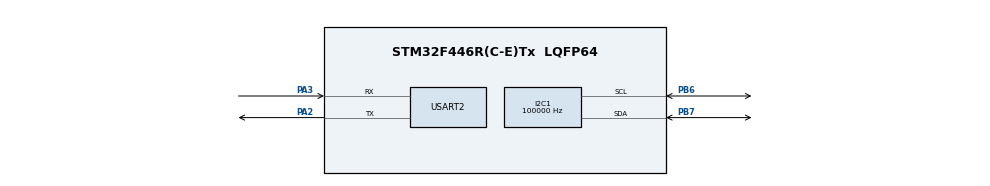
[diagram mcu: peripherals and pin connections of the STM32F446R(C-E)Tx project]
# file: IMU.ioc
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I2C1.ClockSpeed=100000
Mcu.Family=STM32F4
Mcu.Name=STM32F446R(C-E)Tx
Mcu.Package=LQFP64
NVIC.PriorityGroup=NVIC_PRIORITYGROUP_4
PA2.Mode=Asynchronous
PA2.Signal=USART2_TX
PA3.Mode=Asynchronous
PA3.Signal=USART2_RX
PB6.Mode=I2C
PB6.Signal=I2C1_SCL
PB7.Mode=I2C
PB7.Signal=I2C1_SDA
ProjectManager.HeapSize=0x200
ProjectManager.StackSize=0x400
ProjectManager.TargetToolchain=STM32CubeIDE
RCC.CortexFreq_Value=16000000
RCC.USBFreq_Value=96000000
RCC.VCOOutputFreq_Value=192000000
USART2.VirtualMode=VM_ASYNC
board=custom

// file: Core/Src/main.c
/* USER CODE BEGIN Header */
/**
  ******************************************************************************
  * @file           : main.c
  * @brief          : Main program body
  ******************************************************************************
  * @attention
  *
  * Copyright (c) 2024 STMicroelectronics.
  * All rights reserved.
  *
  * This software is licensed under terms that can be found in the LICENSE file
  * in the root directory of this software component.
  * If no LICENSE file comes with this software, it is provided AS-IS.
  *
  ******************************************************************************
  */
/* USER CODE END Header */
#include "main.h"

/* USER CODE BEGIN Includes */
#include <stdio.h>

/* USER CODE END Includes */

/* USER CODE BEGIN PD */
// Endereço I2C do ICM20948
#define ICM20948_ADDR 0x68 << 1  // Endereço I2C com bit de leitura/escrita
#define WHO_AM_I 0x00            // Registo WHO_AM_I
#define PWR_MGMT_1 0x06          // Registo de gerenciamento de energia
#define ACCEL_XOUT_H 0x2D        // Registo de saída do acelerômetro (X alto)
#define GYRO_XOUT_H 0x33         // Registo de saída do giroscópio (X alto)

// Sensibilidade inicial dos sensores (ajustar conforme a configuração do dispositivo)
float ACCEL_SENSITIVITY = 16384.0; // ×2g: 16384 LSB/g
float GYRO_SENSITIVITY = 131.0;    // ×250dps: 131 LSB/°/s
/* USER CODE END PD */

I2C_HandleTypeDef hi2c1;

UART_HandleTypeDef huart2;

/* USER CODE BEGIN PV */
uint8_t tx_buffer[128];

/* USER CODE END PV */

void SystemClock_Config(void);
static void MX_GPIO_Init(void);
static void MX_USART2_UART_Init(void);
static void MX_I2C1_Init(void);

/* USER CODE BEGIN 0 */

uint8_t icm20948_init(void) {
    uint8_t data;

    // Verifica o WHO_AM_I
    HAL_I2C_Mem_Read(&hi2c1, ICM20948_ADDR, WHO_AM_I, I2C_MEMADD_SIZE_8BIT, &data, 1, HAL_MAX_DELAY);
    if (data != 0xEA) {  // Valor esperado do WHO_AM_I
        return HAL_ERROR;
    }

    // Configura o registrador PWR_MGMT_1 (sai do modo de suspensão)
    data = 0x01;  // Seleciona o relógio PLL
    HAL_I2C_Mem_Write(&hi2c1, ICM20948_ADDR, PWR_MGMT_1, I2C_MEMADD_SIZE_8BIT, &data, 1, HAL_MAX_DELAY);

    return HAL_OK;
}

// Configurar intervalo do acelerômetro e atualizar sensibilidade
void icm20948_set_accel_range(uint8_t range) {
    uint8_t data = range << 1; // Configurar FS_SEL no registrador ACCEL_CONFIG
    HAL_I2C_Mem_Write(&hi2c1, ICM20948_ADDR, 0x14, I2C_MEMADD_SIZE_8BIT, &data, 1, HAL_MAX_DELAY);

    switch (range) {
        case 0:
            ACCEL_SENSITIVITY = 16384.0; // ±2g
            break;
        case 1:
            ACCEL_SENSITIVITY = 8192.0; // ±4g
            break;
        case 2:
            ACCEL_SENSITIVITY = 4096.0; // ±8g
            break;
        case 3:
            ACCEL_SENSITIVITY = 2048.0; // ±16g
            break;
        default:
            ACCEL_SENSITIVITY = 16384.0; // Default to ±2g
    }
}

// Configurar intervalo do giroscópio e atualizar sensibilidade
void icm20948_set_gyro_range(uint8_t range) {
    uint8_t data = range << 1; // Configurar FS_SEL no registrador GYRO_CONFIG
    HAL_I2C_Mem_Write(&hi2c1, ICM20948_ADDR, 0x01, I2C_MEMADD_SIZE_8BIT, &data, 1, HAL_MAX_DELAY);

    switch (range) {
        case 0:
            GYRO_SENSITIVITY = 131.0; // ±250°/s
            break;
        case 1:
            GYRO_SENSITIVITY = 65.5; // ±500°/s
            break;
        case 2:
            GYRO_SENSITIVITY = 32.8; // ±1000°/s
            break;
        case 3:
            GYRO_SENSITIVITY = 16.4; // ±2000°/s
            break;
        default:
            GYRO_SENSITIVITY = 131.0; // Default to ±250°/s
    }
}

// Leitura dos dados do acelerômetro
void icm20948_read_accel(int16_t *accel_data) {
    uint8_t data[6];

    HAL_I2C_Mem_Read(&hi2c1, ICM20948_ADDR, ACCEL_XOUT_H, I2C_MEMADD_SIZE_8BIT, data, 6, HAL_MAX_DELAY);

    // Combina os valores altos e baixos para os eixos X, Y e Z
    accel_data[0] = (int16_t)(data[0] << 8 | data[1]);
    accel_data[1] = (int16_t)(data[2] << 8 | data[3]);
    accel_data[2] = (int16_t)(data[4] << 8 | data[5]);
}

void icm20948_read_gyro(int16_t *gyro_data) {
    uint8_t data[6];

    HAL_I2C_Mem_Read(&hi2c1, ICM20948_ADDR, GYRO_XOUT_H, I2C_MEMADD_SIZE_8BIT, data, 6, HAL_MAX_DELAY);

    // Combina os valores altos e baixos para os eixos X, Y e Z
    gyro_data[0] = (int16_t)(data[0] << 8 | data[1]);
    gyro_data[1] = (int16_t)(data[2] << 8 | data[3]);
    gyro_data[2] = (int16_t)(data[4] << 8 | data[5]);
}

/* USER CODE END 0 */

int main(void)
{

  /* MCU Configuration--------------------------------------------------------*/

  /* Reset of all peripherals, Initializes the Flash interface and the Systick. */
  HAL_Init();

  /* Configure the system clock */
  SystemClock_Config();

  /* Initialize all configured peripherals */
  MX_GPIO_Init();
  MX_USART2_UART_Init();
  MX_I2C1_Init();
  /* USER CODE BEGIN 2 */

  HAL_UART_Transmit(&huart2, (uint8_t *)"Initializing ICM20948...\r\n", 26, HAL_MAX_DELAY);

  if (icm20948_init() == HAL_OK) {
	  HAL_UART_Transmit(&huart2, (uint8_t *)"ICM20948 initialized!\r\n", 23, HAL_MAX_DELAY);
  } else {
	  HAL_UART_Transmit(&huart2, (uint8_t *)"ICM20948 initialization failed!\r\n", 33, HAL_MAX_DELAY);
	  Error_Handler();
  }

  icm20948_set_accel_range(0); // ±2g
  icm20948_set_gyro_range(0);  // ±250°/s

  int16_t accel_data[3];
  int16_t gyro_data[3];

  /* USER CODE END 2 */

  /* Infinite loop */
  while (1)
  {

    /* USER CODE BEGIN 3 */

      icm20948_read_accel(accel_data);
      icm20948_read_gyro(gyro_data);

      // Converte os dados para unidades físicas
      float accel_x_g = accel_data[0] / ACCEL_SENSITIVITY;
      float accel_y_g = accel_data[1] / ACCEL_SENSITIVITY;
      float accel_z_g = accel_data[2] / ACCEL_SENSITIVITY;

      float gyro_x_dps = gyro_data[0] / GYRO_SENSITIVITY;
      float gyro_y_dps = gyro_data[1] / GYRO_SENSITIVITY;
      float gyro_z_dps = gyro_data[2] / GYRO_SENSITIVITY;

      // Escreve os dados convertidos para o terminal
      snprintf((char *)tx_buffer, sizeof(tx_buffer),
               "Accel (g): X=%.2f, Y=%.2f, Z=%.2f | Gyro (dps): X=%.2f, Y=%.2f, Z=%.2f\r\n",
               accel_x_g, accel_y_g, accel_z_g,
               gyro_x_dps, gyro_y_dps, gyro_z_dps);

      HAL_UART_Transmit(&huart2, tx_buffer, strlen((char *)tx_buffer), HAL_MAX_DELAY);

      HAL_Delay(100);  // Aguarda 1 segundo

  }
  /* USER CODE END 3 */
}

void SystemClock_Config(void)
{
  RCC_OscInitTypeDef RCC_OscInitStruct = {0};
  RCC_ClkInitTypeDef RCC_ClkInitStruct = {0};

  /** Configure the main internal regulator output voltage
  */
  __HAL_RCC_PWR_CLK_ENABLE();
  __HAL_PWR_VOLTAGESCALING_CONFIG(PWR_REGULATOR_VOLTAGE_SCALE3);

  /** Initializes the RCC Oscillators according to the specified parameters
  * in the RCC_OscInitTypeDef structure.
  */
  RCC_OscInitStruct.OscillatorType = RCC_OSCILLATORTYPE_HSI;
  RCC_OscInitStruct.HSIState = RCC_HSI_ON;
  RCC_OscInitStruct.HSICalibrationValue = RCC_HSICALIBRATION_DEFAULT;
  RCC_OscInitStruct.PLL.PLLState = RCC_PLL_NONE;
  if (HAL_RCC_OscConfig(&RCC_OscInitStruct) != HAL_OK)
  {
    Error_Handler();
  }

  /** Initializes the CPU, AHB and APB buses clocks
  */
  RCC_ClkInitStruct.ClockType = RCC_CLOCKTYPE_HCLK|RCC_CLOCKTYPE_SYSCLK
                              |RCC_CLOCKTYPE_PCLK1|RCC_CLOCKTYPE_PCLK2;
  RCC_ClkInitStruct.SYSCLKSource = RCC_SYSCLKSOURCE_HSI;
  RCC_ClkInitStruct.AHBCLKDivider = RCC_SYSCLK_DIV1;
  RCC_ClkInitStruct.APB1CLKDivider = RCC_HCLK_DIV1;
  RCC_ClkInitStruct.APB2CLKDivider = RCC_HCLK_DIV1;

  if (HAL_RCC_ClockConfig(&RCC_ClkInitStruct, FLASH_LATENCY_0) != HAL_OK)
  {
    Error_Handler();
  }
}

static void MX_I2C1_Init(void)
{

  hi2c1.Instance = I2C1;
  hi2c1.Init.ClockSpeed = 100000;
  hi2c1.Init.DutyCycle = I2C_DUTYCYCLE_2;
  hi2c1.Init.OwnAddress1 = 0;
  hi2c1.Init.AddressingMode = I2C_ADDRESSINGMODE_7BIT;
  hi2c1.Init.DualAddressMode = I2C_DUALADDRESS_DISABLE;
  hi2c1.Init.OwnAddress2 = 0;
  hi2c1.Init.GeneralCallMode = I2C_GENERALCALL_DISABLE;
  hi2c1.Init.NoStretchMode = I2C_NOSTRETCH_DISABLE;
  if (HAL_I2C_Init(&hi2c1) != HAL_OK)
  {
    Error_Handler();
  }

}

static void MX_USART2_UART_Init(void)
{

  huart2.Instance = USART2;
  huart2.Init.BaudRate = 115200;
  huart2.Init.WordLength = UART_WORDLENGTH_8B;
  huart2.Init.StopBits = UART_STOPBITS_1;
  huart2.Init.Parity = UART_PARITY_NONE;
  huart2.Init.Mode = UART_MODE_TX_RX;
  huart2.Init.HwFlowCtl = UART_HWCONTROL_NONE;
  huart2.Init.OverSampling = UART_OVERSAMPLING_16;
  if (HAL_UART_Init(&huart2) != HAL_OK)
  {
    Error_Handler();
  }

}

static void MX_GPIO_Init(void)
{

  /* GPIO Ports Clock Enable */
  __HAL_RCC_GPIOA_CLK_ENABLE();
  __HAL_RCC_GPIOB_CLK_ENABLE();

}

void Error_Handler(void)
{
  __disable_irq();
  while (1)
  {
  }
}
